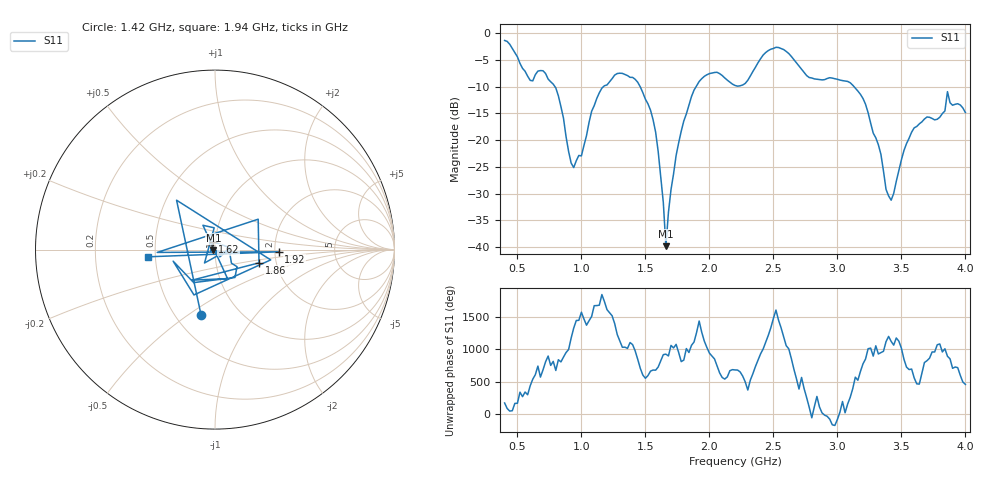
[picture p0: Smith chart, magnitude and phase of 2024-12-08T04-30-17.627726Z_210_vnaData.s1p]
!Created with skrf (http://scikit-rf.org).
# Hz S RI R 50.0
!freq ReS11 ImS11
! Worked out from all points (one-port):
!   181 points, 400 MHz to 4 GHz, reference 50 ohm
!   lowest |S11| = -39.8 dB at 1.66 GHz (marker M1), VSWR 1.02, Z = 49.1 - j0.46 ohm
!   |S11| at or under -10 dB: 794 MHz to 1.171 GHz (377.1 MHz wide, 38.4 % of centre); 1.46 GHz to 1.896 GHz (436.2 MHz wide, 26 % of centre); 3.131 GHz to end of sweep
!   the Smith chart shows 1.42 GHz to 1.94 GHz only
!   S11 on the Smith chart (normalised r, x): 1.42 GHz: 0.67, -0.56; 1.62 GHz: 0.97, +0.08; 1.86 GHz: 1.62, -0.26; 1.92 GHz: 2.10, -0.06; 1.94 GHz: 0.45, -0.04
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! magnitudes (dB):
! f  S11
! 400 MHz  -1.3
! 600 MHz  -8.8
! 720 MHz  -7.5
! 800 MHz  -10.2
! 860 MHz  -15.9
! 940 MHz  -25.1
! 1.14 GHz  -11.1
! 1.3 GHz  -7.5
! 1.42 GHz  -8.6
! 1.56 GHz  -16.2
! 1.62 GHz  -26.8
! 1.66 GHz  -39.8
! 1.7 GHz  -29.3
! 1.76 GHz  -20.5
! 1.86 GHz  -11.8
! 1.92 GHz  -9.0
! 1.94 GHz  -8.5
! 2.2 GHz  -9.8
! 2.48 GHz  -3.0
! 2.66 GHz  -4.9
! 2.78 GHz  -8.3
! 3.1 GHz  -9.2
! 3.22 GHz  -13.3
! 3.42 GHz  -31.2
! 3.56 GHz  -19.6
! 3.8 GHz  -15.7
! 3.86 GHz  -10.9
! 4 GHz  -14.8
